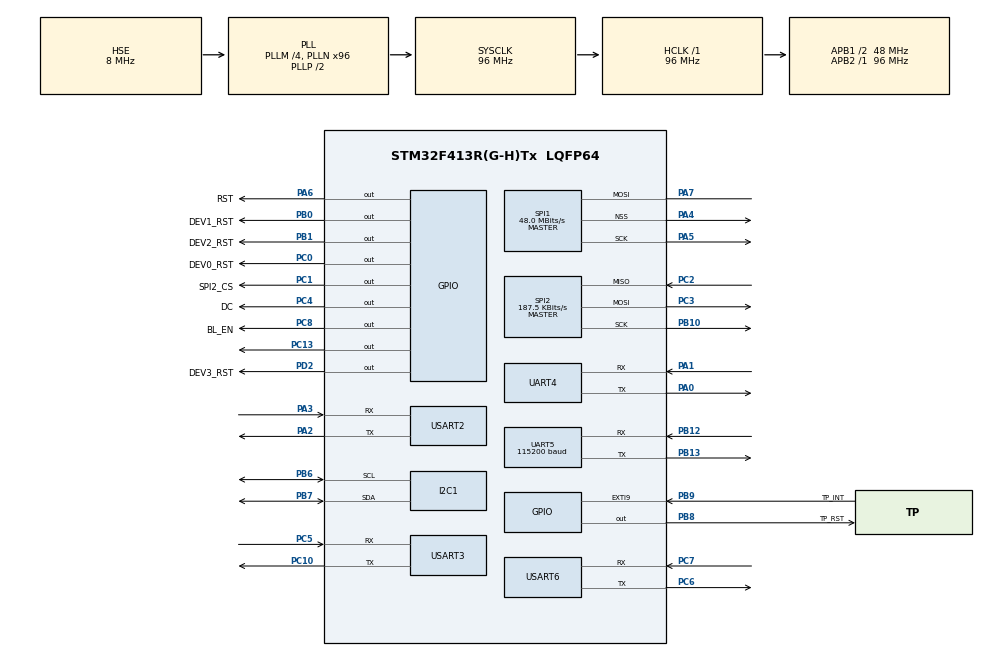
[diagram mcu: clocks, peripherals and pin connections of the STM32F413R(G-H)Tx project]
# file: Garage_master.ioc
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Dma.Request0=SPI1_TX
Dma.Request1=UART5_RX
Dma.Request10=USART3_TX
Dma.Request2=UART5_TX
Dma.Request3=USART6_RX
Dma.Request4=USART6_TX
Dma.Request5=USART2_RX
Dma.Request6=USART2_TX
Dma.Request7=UART4_TX
Dma.Request8=UART4_RX
Dma.Request9=USART3_RX
Dma.SPI1_TX.0.Direction=DMA_MEMORY_TO_PERIPH
Dma.SPI1_TX.0.FIFOMode=DMA_FIFOMODE_DISABLE
Dma.SPI1_TX.0.Instance=DMA2_Stream2
Dma.SPI1_TX.0.MemDataAlignment=DMA_MDATAALIGN_BYTE
Dma.SPI1_TX.0.MemInc=DMA_MINC_ENABLE
Dma.SPI1_TX.0.Mode=DMA_NORMAL
Dma.SPI1_TX.0.PeriphDataAlignment=DMA_PDATAALIGN_BYTE
Dma.SPI1_TX.0.PeriphInc=DMA_PINC_DISABLE
Dma.SPI1_TX.0.Priority=DMA_PRIORITY_LOW
Dma.UART4_RX.8.Direction=DMA_PERIPH_TO_MEMORY
Dma.UART4_RX.8.FIFOMode=DMA_FIFOMODE_DISABLE
Dma.UART4_RX.8.Instance=DMA1_Stream2
Dma.UART4_RX.8.MemDataAlignment=DMA_MDATAALIGN_BYTE
Dma.UART4_RX.8.MemInc=DMA_MINC_ENABLE
Dma.UART4_RX.8.Mode=DMA_NORMAL
Dma.UART4_RX.8.PeriphDataAlignment=DMA_PDATAALIGN_BYTE
Dma.UART4_RX.8.PeriphInc=DMA_PINC_DISABLE
Dma.UART4_RX.8.Priority=DMA_PRIORITY_LOW
Dma.UART4_TX.7.Direction=DMA_MEMORY_TO_PERIPH
Dma.UART4_TX.7.FIFOMode=DMA_FIFOMODE_DISABLE
Dma.UART4_TX.7.Instance=DMA1_Stream4
Dma.UART4_TX.7.MemDataAlignment=DMA_MDATAALIGN_BYTE
Dma.UART4_TX.7.MemInc=DMA_MINC_ENABLE
Dma.UART4_TX.7.Mode=DMA_NORMAL
Dma.UART4_TX.7.PeriphDataAlignment=DMA_PDATAALIGN_BYTE
Dma.UART4_TX.7.PeriphInc=DMA_PINC_DISABLE
Dma.UART4_TX.7.Priority=DMA_PRIORITY_LOW
Dma.UART5_RX.1.Direction=DMA_PERIPH_TO_MEMORY
Dma.UART5_RX.1.FIFOMode=DMA_FIFOMODE_DISABLE
Dma.UART5_RX.1.Instance=DMA1_Stream0
Dma.UART5_RX.1.MemDataAlignment=DMA_MDATAALIGN_BYTE
Dma.UART5_RX.1.MemInc=DMA_MINC_ENABLE
Dma.UART5_RX.1.Mode=DMA_NORMAL
Dma.UART5_RX.1.PeriphDataAlignment=DMA_PDATAALIGN_BYTE
Dma.UART5_RX.1.PeriphInc=DMA_PINC_DISABLE
Dma.UART5_RX.1.Priority=DMA_PRIORITY_LOW
Dma.UART5_TX.2.Direction=DMA_MEMORY_TO_PERIPH
Dma.UART5_TX.2.FIFOMode=DMA_FIFOMODE_DISABLE
Dma.UART5_TX.2.Instance=DMA1_Stream7
Dma.UART5_TX.2.MemDataAlignment=DMA_MDATAALIGN_BYTE
Dma.UART5_TX.2.MemInc=DMA_MINC_ENABLE
Dma.UART5_TX.2.Mode=DMA_NORMAL
Dma.UART5_TX.2.PeriphDataAlignment=DMA_PDATAALIGN_BYTE
Dma.UART5_TX.2.PeriphInc=DMA_PINC_DISABLE
Dma.UART5_TX.2.Priority=DMA_PRIORITY_LOW
Dma.USART2_RX.5.Direction=DMA_PERIPH_TO_MEMORY
Dma.USART2_RX.5.FIFOMode=DMA_FIFOMODE_DISABLE
Dma.USART2_RX.5.Instance=DMA1_Stream5
Dma.USART2_RX.5.MemDataAlignment=DMA_MDATAALIGN_BYTE
Dma.USART2_RX.5.MemInc=DMA_MINC_ENABLE
Dma.USART2_RX.5.Mode=DMA_NORMAL
Dma.USART2_RX.5.PeriphDataAlignment=DMA_PDATAALIGN_BYTE
Dma.USART2_RX.5.PeriphInc=DMA_PINC_DISABLE
Dma.USART2_RX.5.Priority=DMA_PRIORITY_LOW
Dma.USART2_TX.6.Direction=DMA_MEMORY_TO_PERIPH
Dma.USART2_TX.6.FIFOMode=DMA_FIFOMODE_DISABLE
Dma.USART2_TX.6.Instance=DMA1_Stream6
Dma.USART2_TX.6.MemDataAlignment=DMA_MDATAALIGN_BYTE
Dma.USART2_TX.6.MemInc=DMA_MINC_ENABLE
Dma.USART2_TX.6.Mode=DMA_NORMAL
Dma.USART2_TX.6.PeriphDataAlignment=DMA_PDATAALIGN_BYTE
Dma.USART2_TX.6.PeriphInc=DMA_PINC_DISABLE
Dma.USART2_TX.6.Priority=DMA_PRIORITY_LOW
Dma.USART3_RX.9.Direction=DMA_PERIPH_TO_MEMORY
Dma.USART3_RX.9.FIFOMode=DMA_FIFOMODE_DISABLE
Dma.USART3_RX.9.Instance=DMA1_Stream1
Dma.USART3_RX.9.MemDataAlignment=DMA_MDATAALIGN_BYTE
Dma.USART3_RX.9.MemInc=DMA_MINC_ENABLE
Dma.USART3_RX.9.Mode=DMA_NORMAL
Dma.USART3_RX.9.PeriphDataAlignment=DMA_PDATAALIGN_BYTE
Dma.USART3_RX.9.PeriphInc=DMA_PINC_DISABLE
Dma.USART3_RX.9.Priority=DMA_PRIORITY_LOW
Dma.USART3_TX.10.Direction=DMA_MEMORY_TO_PERIPH
Dma.USART3_TX.10.FIFOMode=DMA_FIFOMODE_DISABLE
Dma.USART3_TX.10.Instance=DMA1_Stream3
Dma.USART3_TX.10.MemDataAlignment=DMA_MDATAALIGN_BYTE
Dma.USART3_TX.10.MemInc=DMA_MINC_ENABLE
Dma.USART3_TX.10.Mode=DMA_NORMAL
Dma.USART3_TX.10.PeriphDataAlignment=DMA_PDATAALIGN_BYTE
Dma.USART3_TX.10.PeriphInc=DMA_PINC_DISABLE
Dma.USART3_TX.10.Priority=DMA_PRIORITY_LOW
Dma.USART6_RX.3.Direction=DMA_PERIPH_TO_MEMORY
Dma.USART6_RX.3.FIFOMode=DMA_FIFOMODE_DISABLE
Dma.USART6_RX.3.Instance=DMA2_Stream1
Dma.USART6_RX.3.MemDataAlignment=DMA_MDATAALIGN_BYTE
Dma.USART6_RX.3.MemInc=DMA_MINC_ENABLE
Dma.USART6_RX.3.Mode=DMA_NORMAL
Dma.USART6_RX.3.PeriphDataAlignment=DMA_PDATAALIGN_BYTE
Dma.USART6_RX.3.PeriphInc=DMA_PINC_DISABLE
Dma.USART6_RX.3.Priority=DMA_PRIORITY_LOW
Dma.USART6_TX.4.Direction=DMA_MEMORY_TO_PERIPH
Dma.USART6_TX.4.FIFOMode=DMA_FIFOMODE_DISABLE
Dma.USART6_TX.4.Instance=DMA2_Stream6
Dma.USART6_TX.4.MemDataAlignment=DMA_MDATAALIGN_BYTE
Dma.USART6_TX.4.MemInc=DMA_MINC_ENABLE
Dma.USART6_TX.4.Mode=DMA_NORMAL
Dma.USART6_TX.4.PeriphDataAlignment=DMA_PDATAALIGN_BYTE
Dma.USART6_TX.4.PeriphInc=DMA_PINC_DISABLE
Dma.USART6_TX.4.Priority=DMA_PRIORITY_LOW
FATFS._MAX_SS=4096
FATFS._USE_LFN=1
IWDG.Prescaler=IWDG_PRESCALER_256
IWDG.Reload=1250
Mcu.Family=STM32F4
Mcu.Name=STM32F413R(G-H)Tx
Mcu.Package=LQFP64
NVIC.DMA1_Stream0_IRQn=true\:0\:0\:false\:false\:true\:false\:true\:true
NVIC.DMA1_Stream1_IRQn=true\:0\:0\:false\:false\:true\:false\:true\:true
NVIC.DMA1_Stream2_IRQn=true\:0\:0\:false\:false\:true\:false\:true\:true
NVIC.DMA1_Stream3_IRQn=true\:0\:0\:false\:false\:true\:false\:true\:true
NVIC.DMA1_Stream4_IRQn=true\:0\:0\:false\:false\:true\:false\:true\:true
NVIC.DMA1_Stream5_IRQn=true\:0\:0\:false\:false\:true\:false\:true\:true
NVIC.DMA1_Stream6_IRQn=true\:0\:0\:false\:false\:true\:false\:true\:true
NVIC.DMA1_Stream7_IRQn=true\:0\:0\:false\:false\:true\:false\:true\:true
NVIC.DMA2_Stream1_IRQn=true\:0\:0\:false\:false\:true\:false\:true\:true
NVIC.DMA2_Stream2_IRQn=true\:0\:0\:false\:false\:true\:false\:true\:true
NVIC.DMA2_Stream6_IRQn=true\:0\:0\:false\:false\:true\:false\:true\:true
NVIC.EXTI9_5_IRQn=true\:0\:0\:false\:false\:true\:true\:true\:true
NVIC.I2C1_ER_IRQn=true\:0\:0\:false\:false\:true\:true\:true\:true
NVIC.I2C1_EV_IRQn=true\:0\:0\:false\:false\:true\:true\:true\:true
NVIC.PriorityGroup=NVIC_PRIORITYGROUP_4
NVIC.UART4_IRQn=true\:0\:0\:false\:false\:true\:true\:true\:true
NVIC.UART5_IRQn=true\:0\:0\:false\:false\:true\:false\:true\:true
NVIC.USART2_IRQn=true\:0\:0\:false\:false\:true\:true\:true\:true
NVIC.USART3_IRQn=true\:0\:0\:false\:false\:true\:true\:true\:true
NVIC.USART6_IRQn=true\:0\:0\:false\:false\:true\:false\:true\:true
PA0.Mode=Asynchronous
PA0.Signal=UART4_TX
PA1.Mode=Asynchronous
PA1.Signal=UART4_RX
PA13.Mode=Trace_Asynchronous_SW
PA13.Signal=SYS_JTMS-SWDIO
PA14.Mode=Trace_Asynchronous_SW
PA14.Signal=SYS_JTCK-SWCLK
PA2.Mode=Asynchronous
PA2.Signal=USART2_TX
PA3.Mode=Asynchronous
PA3.Signal=USART2_RX
PA4.Mode=NSS_Signal_Hard_Output
PA4.Signal=SPI1_NSS
PA5.Mode=Simplex_Bidirectional_Master
PA5.Signal=SPI1_SCK
PA6.GPIO_Label=RST
PA6.Signal=GPIO_Output
PA7.Mode=Simplex_Bidirectional_Master
PA7.Signal=SPI1_MOSI
PB0.GPIO_Label=DEV1_RST
PB0.Signal=GPIO_Output
PB1.GPIO_Label=DEV2_RST
PB1.Signal=GPIO_Output
PB10.Mode=Full_Duplex_Master
PB10.Signal=SPI2_SCK
PB12.Mode=Asynchronous
PB12.Signal=UART5_RX
PB13.Mode=Asynchronous
PB13.Signal=UART5_TX
PB3.Mode=Trace_Asynchronous_SW
PB3.Signal=SYS_JTDO-SWO
PB6.GPIO_Pu=GPIO_PULLUP
PB6.GPIO_Speed=GPIO_SPEED_FREQ_VERY_HIGH
PB6.Mode=I2C
PB6.Signal=I2C1_SCL
PB7.GPIO_Pu=GPIO_PULLUP
PB7.GPIO_Speed=GPIO_SPEED_FREQ_VERY_HIGH
PB7.Mode=I2C
PB7.Signal=I2C1_SDA
PB8.GPIO_Label=TP_RST
PB8.PinState=GPIO_PIN_SET
PB8.Signal=GPIO_Output
PB9.GPIO_Label=TP_INT
PB9.GPIO_ModeDefaultEXTI=GPIO_MODE_IT_RISING_FALLING
PB9.Signal=GPXTI9
PC0.GPIO_Label=DEV0_RST
PC0.Signal=GPIO_Output
PC1.GPIO_Label=SPI2_CS
PC1.Signal=GPIO_Output
PC10.Mode=Asynchronous
PC10.Signal=USART3_TX
PC13.Signal=GPIO_Output
PC14-OSC32_IN.Mode=LSE-External-Oscillator
PC14-OSC32_IN.Signal=RCC_OSC32_IN
PC15-OSC32_OUT.Mode=LSE-External-Oscillator
PC15-OSC32_OUT.Signal=RCC_OSC32_OUT
PC2.Mode=Full_Duplex_Master
PC2.Signal=SPI2_MISO
PC3.Mode=Full_Duplex_Master
PC3.Signal=SPI2_MOSI
PC4.GPIO_Label=DC
PC4.Signal=GPIO_Output
PC5.Mode=Asynchronous
PC5.Signal=USART3_RX
PC6.Mode=Asynchronous
PC6.Signal=USART6_TX
PC7.Mode=Asynchronous
PC7.Signal=USART6_RX
PC8.GPIO_Label=BL_EN
PC8.Signal=GPIO_Output
PD2.GPIO_Label=DEV3_RST
PD2.Signal=GPIO_Output
PH0\ -\ OSC_IN.Mode=HSE-External-Oscillator
PH0\ -\ OSC_IN.Signal=RCC_OSC_IN
PH1\ -\ OSC_OUT.Mode=HSE-External-Oscillator
PH1\ -\ OSC_OUT.Signal=RCC_OSC_OUT
ProjectManager.HeapSize=0x200
ProjectManager.StackSize=0x400
ProjectManager.TargetToolchain=Makefile
RCC.AHBFreq_Value=96000000
RCC.APB1CLKDivider=RCC_HCLK_DIV2
RCC.APB1Freq_Value=48000000
RCC.APB1TimFreq_Value=96000000
RCC.APB2Freq_Value=96000000
RCC.APB2TimFreq_Value=96000000
RCC.CortexFreq_Value=96000000
RCC.HCLKFreq_Value=96000000
RCC.HSE_VALUE=8000000
RCC.PLLM=4
RCC.PLLN=96
RCC.PLLSourceVirtual=RCC_PLLSOURCE_HSE
RCC.RCC_RTC_Clock_SourceVirtual=RCC_RTCCLKSOURCE_LSE
RCC.SYSCLKFreq_VALUE=96000000
RCC.SYSCLKSource=RCC_SYSCLKSOURCE_PLLCLK
RCC.USBFreq_Value=96000000
RCC.VCOOutputFreq_Value=192000000
RTC.Alarm=RTC_ALARM_A
SPI1.CalculateBaudRate=48.0 MBits/s
SPI1.Direction=SPI_DIRECTION_1LINE
SPI1.Mode=SPI_MODE_MASTER
SPI1.VirtualNSS=VM_NSSHARD
SPI1.VirtualType=VM_MASTER
SPI2.BaudRatePrescaler=SPI_BAUDRATEPRESCALER_256
SPI2.CalculateBaudRate=187.5 KBits/s
SPI2.Direction=SPI_DIRECTION_2LINES
SPI2.Mode=SPI_MODE_MASTER
SPI2.VirtualType=VM_MASTER
UART4.VirtualMode=Asynchronous
UART5.BaudRate=115200
UART5.VirtualMode=Asynchronous
USART2.VirtualMode=VM_ASYNC
USART3.VirtualMode=VM_ASYNC
USART6.VirtualMode=VM_ASYNC
VP_FATFS_VS_Generic.Mode=User_defined
VP_IWDG_VS_IWDG.Mode=IWDG_Activate
VP_RTC_VS_RTC_Activate.Mode=RTC_Enabled
VP_RTC_VS_RTC_Alarm_A_Intern.Mode=Alarm A
VP_RTC_VS_RTC_Calendar.Mode=RTC_Calendar
board=custom

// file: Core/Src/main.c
/* USER CODE BEGIN Header */
/**
  ******************************************************************************
  * @file           : main.c
  * @brief          : Main program body
  ******************************************************************************
  * @attention
  *
  * Copyright (c) 2024 STMicroelectronics.
  * All rights reserved.
  *
  * This software is licensed under terms that can be found in the LICENSE file
  * in the root directory of this software component.
  * If no LICENSE file comes with this software, it is provided AS-IS.
  *
  ******************************************************************************
  */
/* USER CODE END Header */
#include "main.h"
#include "fatfs.h"

/* USER CODE BEGIN Includes */
#include <stdlib.h>
#include <dispcolor.h>
#include <gpio.h>
#include "info_disp.h"
#include "cst816s.h"
#include <string.h>
#include <stdio.h>
/* USER CODE END Includes */

/* USER CODE BEGIN PD */
#define STATE_INIT    0
#define STATE_DISPLAY 1
#define STATE_800INIT 2

#define SCROLL_MODE_AUTO  0
#define SCROLL_MODE_HALT  1
#define SCROLL_MODE_CLICK 2

#define TRANSMIT_MODE_GET 0
#define TRANSMIT_MODE_SET 1

#define RX_BUFFER_SIZE 512
#define TX_BUFFER_SIZE 128

#define RTC_BKP_CONSTANT  0x2345
/* USER CODE END PD */

I2C_HandleTypeDef hi2c1;

IWDG_HandleTypeDef hiwdg;

RTC_HandleTypeDef hrtc;

SPI_HandleTypeDef hspi1;
SPI_HandleTypeDef hspi2;
// DMA_HandleTypeDef hdma_spi1_tx;

UART_HandleTypeDef huart4;
UART_HandleTypeDef huart5;
UART_HandleTypeDef huart2;
UART_HandleTypeDef huart3;
UART_HandleTypeDef huart6;
DMA_HandleTypeDef hdma_uart4_tx;
DMA_HandleTypeDef hdma_uart4_rx;
DMA_HandleTypeDef hdma_uart5_rx;
DMA_HandleTypeDef hdma_uart5_tx;
DMA_HandleTypeDef hdma_usart2_rx;
DMA_HandleTypeDef hdma_usart2_tx;
DMA_HandleTypeDef hdma_usart3_rx;
DMA_HandleTypeDef hdma_usart3_tx;
DMA_HandleTypeDef hdma_usart6_rx;
DMA_HandleTypeDef hdma_usart6_tx;

/* USER CODE BEGIN PV */
#define DEV0_UART &huart4
#define DEV3_UART &huart5

#define DEV_STATE_IN    1
#define DEV_STATE_UNIN  0

#define SIM800_UART &huart6
/* USER CODE END PV */

void SystemClock_Config(void);
static void MX_GPIO_Init(void);
static void MX_DMA_Init(void);
static void MX_SPI1_Init(void);
static void MX_UART5_Init(void);
static void MX_USART6_UART_Init(void);
static void MX_SPI2_Init(void);
static void MX_RTC_Init(void);
static void MX_USART2_UART_Init(void);
static void MX_IWDG_Init(void);
static void MX_UART4_Init(void);
static void MX_USART3_UART_Init(void);
static void MX_I2C1_Init(void);
/* USER CODE BEGIN PFP */
void Set_Alarm(uint8_t minutes);
void Set_RTC();
uint32_t map(uint32_t x, uint32_t in_min, uint32_t in_max, uint32_t out_min, uint32_t out_max);
void findNextInDev(bool dir);
bool checkSIMStatus();
bool sendSMS(char *message);
bool checkInitStatus();
bool enableGPRS();
void resetModule();
void syncTime();
void getTime();
/* USER CODE END PFP */

/* USER CODE BEGIN 0 */
double val = 10;
uint8_t tx_buff[]={84,66,67,68,69,70,71,72,73,74};
uint8_t palette = TEMP_PALETTE;
uint8_t device_type = TYPE_SET_TEL;

uint8_t state = STATE_INIT;
uint8_t dev_num = 0;
uint8_t act_dev_cnt = 0;

int8_t act_dev_list[]  = {-1, -1, -1, -1};

bool isDevPolledFirstTime = true;

uint8_t alarm_timeout = 1;

uint8_t screen_scroll_mode = SCROLL_MODE_AUTO;

//Device device_0 = {&huart4, DEV_STATE_UNIN, TYPE_SET_ONLY};
// Device device_2 = {&huart5, DEV_STATE_UNIN, TYPE_SET_ONLY};
//Device device_3 = {&huart5, DEV_STATE_UNIN, TYPE_SET_ONLY};
// Device device_4 = {&huart5, DEV_STATE_UNIN, TYPE_SET_ONLY};

CST816S_TouchData TP;

Device deviceList[] = {{&huart4, DEV_STATE_UNIN, TYPE_SET_ONLY, DEV0_RST_GPIO_Port, DEV0_RST_Pin},
                       {&huart2, DEV_STATE_UNIN, TYPE_SET_ONLY, DEV1_RST_GPIO_Port, DEV1_RST_Pin},
                       {&huart3, DEV_STATE_UNIN, TYPE_SET_ONLY, DEV2_RST_GPIO_Port, DEV2_RST_Pin},
                       {&huart5, DEV_STATE_UNIN, TYPE_SET_ONLY, DEV3_RST_GPIO_Port, DEV3_RST_Pin}};
//Device deviceList[] = {device_0, dev};

SIM sim = {SIM800_UART};

uint8_t rx_buff[10];

uint8_t sim_rx_buff[30];

uint8_t SIMrxBuffer[RX_BUFFER_SIZE];
uint8_t SIMtxBuffer[TX_BUFFER_SIZE];

#define DEV_COUNT 4

bool transmitMode = TRANSMIT_MODE_GET;

bool isSDInitialised = false;

bool isSIMInitialised = false;
bool isSIMInserted = false;

bool allDeviceIsUnIn = true;

bool touchAvailable = false;

bool isRTCSetUp = false;

bool isRTCTimeSync = false;

bool longPressFlag = false;

bool showMainScreen = true;

const char *tele2_apn = "internet.tele2.lv";
const char *lmt_apn = "internet.lmt.lv";
const char *bite_apn = "internet";
/* USER CODE END 0 */

int main(void)
{

  /* MCU Configuration--------------------------------------------------------*/

  /* Reset of all peripherals, Initializes the Flash interface and the Systick. */
  HAL_Init();

  /* Configure the system clock */
  SystemClock_Config();

  /* Initialize all configured peripherals */
  MX_GPIO_Init();
  MX_DMA_Init();
  MX_SPI1_Init();
  MX_UART5_Init();
  MX_USART6_UART_Init();
  MX_SPI2_Init();
  MX_FATFS_Init();
  MX_RTC_Init();
  MX_USART2_UART_Init();
  MX_IWDG_Init();
  MX_UART4_Init();
  MX_USART3_UART_Init();
  MX_I2C1_Init();
  /* USER CODE BEGIN 2 */

	dispcolor_Init(240, 240);

	uint32_t dev_init_timeout = HAL_GetTick();
  uint32_t screen_disp_time = HAL_GetTick();
  uint32_t touch_tmr = HAL_GetTick();
  uint32_t sim_tmr = HAL_GetTick();

  // uint32_t simtmr = HAL_GetTick();
  // uint32_t txtmr = HAL_GetTick();

  uint8_t old_dev_num = 0;

  /* RTC */
  // GET RTC DATETIME
  RTC_DateTypeDef gDate;
  RTC_TimeTypeDef gTime;

  /* Get the RTC current Time */
  HAL_RTC_GetTime(&hrtc, &gTime, RTC_FORMAT_BIN);
  /* Get the RTC current Date */
  HAL_RTC_GetDate(&hrtc, &gDate, RTC_FORMAT_BIN);

  if(HAL_RTCEx_BKUPRead(&hrtc, RTC_BKP_DR1) != RTC_BKP_CONSTANT){
    Show_RTC_Warning();
    // RTC SETUP MENU
    // Set_RTC();
    // NVIC_SystemReset();
  }else{
    isRTCSetUp = true;
  }

  /* SD CARD */
  FATFS FatFs;
  FRESULT FR_Status;
  FIL Fil;
  UINT bytesWrote;

  FR_Status = f_mount(&FatFs, "", 1);
  if (FR_Status == FR_OK){
    isSDInitialised = true;
  }else{
    Show_SD_Warning();
  }

  /* SIM CARD */
  HAL_UART_Receive_DMA(&huart6, SIMrxBuffer, RX_BUFFER_SIZE);

  /* RESET */
  for (int i = 0; i < DEV_COUNT; i++){
    GPIO_TypeDef *curDevRSTport = deviceList[i].RSTport;
    uint16_t curDevRSTpin = deviceList[i].RSTpin;
    HAL_GPIO_WritePin(curDevRSTport, curDevRSTpin, GPIO_PIN_RESET);
	  HAL_Delay(100);
    HAL_GPIO_WritePin(curDevRSTport, curDevRSTpin, GPIO_PIN_SET);
    deviceList[i].tx_buff[0] = 84;
  }
  dev_init_timeout = HAL_GetTick();

  /* TOUCH */
  if (!CST816S_Init(&hi2c1)){
    HAL_NVIC_SystemReset();
  }
  /* USER CODE END 2 */

  /* Infinite loop */
  /* USER CODE BEGIN WHILE */
  while (1){
    if(state == STATE_INIT){
      Display_Init(dev_num, DEV_COUNT);
      HAL_UART_Transmit_DMA(deviceList[dev_num].uart, deviceList[dev_num].tx_buff, 10);
      HAL_UART_Receive_DMA(deviceList[dev_num].uart, deviceList[dev_num].rx_buff, 10);
    }
    else{
      if (!allDeviceIsUnIn && !showMainScreen){
        Dispaly_Data(&deviceList[dev_num]);
        if(transmitMode == TRANSMIT_MODE_GET){
          if(deviceList[dev_num].deviceMode != TYPE_SET_ONLY){
            HAL_UART_Transmit_DMA(deviceList[dev_num].uart, deviceList[dev_num].tx_buff, 10);
            HAL_UART_Receive_DMA(deviceList[dev_num].uart, deviceList[dev_num].rx_buff, 10);
          }
        }else{
          char setValueTx[10];
          //sprintf(setValueTx, "%d", deviceList[dev_num].setValue);
          itoa(deviceList[dev_num].setValue, setValueTx, 10);
          HAL_UART_Transmit_DMA(deviceList[dev_num].uart, (uint8_t*)&setValueTx, 10);
          transmitMode = TRANSMIT_MODE_GET;
        }
        for(uint8_t act_dev = 0; act_dev < 4; act_dev++){
          if (act_dev_list[act_dev] == dev_num){
            Draw_NavBar(act_dev_cnt, act_dev);
            break;
          }
        }

      }else{
        Draw_Main_Screen();
        Draw_NavBar(act_dev_cnt, -1);
        //Draw_Easter();
      }
    }

    // DEVICE INITIALIZATION START
    if (HAL_GetTick()-dev_init_timeout>1000 && state == STATE_INIT){
      if(dev_num == old_dev_num){
        dev_num++;
      }else{
        old_dev_num = dev_num;
      }
      dev_init_timeout = HAL_GetTick();
      screen_disp_time = HAL_GetTick();
    }

    if(HAL_GetTick()-sim_tmr > 5000){
      if(!isSIMInserted){
        if(checkSIMStatus()){
          Add_Message("SIM detected");
          isSIMInserted = true;
        }
      }
      if(isSIMInserted && !isSIMInitialised){
        if(checkInitStatus()){
          Add_Message("GSM connected");
          if(!isRTCSetUp && !isRTCTimeSync){
            syncTime();
            resetModule();
            isRTCTimeSync = true;
          }else{
            isSIMInitialised = true;
          }
        }
      }
      if(isSIMInitialised && !isRTCSetUp){
        getTime();
        if(HAL_RTCEx_BKUPRead(&hrtc, RTC_BKP_DR1) == RTC_BKP_CONSTANT){
          Add_Message("RTC is set up");
          isRTCSetUp = true;
        }
      }
      sim_tmr = HAL_GetTick();
    }

    // TEST CODE START
    // if (HAL_GetTick() - sim_tmr > 10000 && isSIMInitialised && isSIMInserted){
    //   char msg[30];
    //   char b[4];
    //   gcvt(deviceList[dev_num].currentValue, 3, b);
    //   sprintf(msg,"TEMP: %s*C", b);
    //   if(sendSMS(msg)){
    //     // Show_Message("SMS OK", 500);
    //   }
    //   sim_tmr = HAL_GetTick();
    // }
    // TEST CODE END

    if(dev_num == DEV_COUNT && state == STATE_INIT){
      // state = STATE_800INIT;
      state = STATE_DISPLAY;
      //simtmr = HAL_GetTick();
      findNextInDev(true);
      screen_scroll_mode = SCROLL_MODE_AUTO;
      if(isSDInitialised){
        // CREATE FILE "init_time_date.txt"
       // Set_Alarm(alarm_timeout);
        char filename_buff[35];
        char reset_cause_buf[20];
        uint8_t buf_len = 0;
        // CREATE FILE
        sprintf(filename_buff, "init_%02d-%02d-%02d_%02d-%02d-%2d.txt", gTime.Hours, gTime.Minutes, gTime.Seconds, gDate.Date, gDate.Month, gDate.Year);
        FR_Status = f_open(&Fil, filename_buff, FA_WRITE | FA_OPEN_ALWAYS | FA_CREATE_ALWAYS);
        // GET RESET REASON
        uint32_t reset_flags = RCC->CSR;
        if (reset_flags & RCC_CSR_IWDGRSTF) {
          buf_len = sprintf(reset_cause_buf, "Reset by IWDG\n");
        }else if (reset_flags & RCC_CSR_PINRSTF){
          buf_len = sprintf(reset_cause_buf, "Normal startup\n");
        }
        // SAVE
        FR_Status = f_write(&Fil, reset_cause_buf, buf_len, &bytesWrote);
        // GET DEVICE DATA
        for (uint8_t i = 0; i < DEV_COUNT; i++){
          char init_file_buf[75];
          // DEVISE INITIALISED
          if(deviceList[i].initState == DEV_STATE_IN){
            char dev_type_buf[15];
            // GET DEVICE TYPE
            switch (deviceList[i].deviceMode)
            {
            case TYPE_SET_ONLY:
              sprintf(dev_type_buf, "TYPE_SET_ONLY");
              break;
            case TYPE_SET_TEL:
              sprintf(dev_type_buf, "TYPE_SET_TEL");
              break;
            case TYPE_TEL_ONLY:
              sprintf(dev_type_buf, "TYPE_TEL_ONLY");
              break;
            }
            // GET DEVICE VARIABLES
            uint8_t max[5];
            uint8_t min[5];
            gcvt(deviceList[i].minValue, 5, min);
            gcvt(deviceList[i].maxValue, 5, max);
            // SAVE
            buf_len = sprintf(init_file_buf, "DEV: %d\nMin/Max: %s/%s\nDev type: %s\n\n", i, min, max, dev_type_buf);
          }else{ // DEVICE UNINITIALISED
            buf_len = sprintf(init_file_buf, "DEV: empty\n\n");
          }
          FR_Status = f_write(&Fil, init_file_buf, buf_len, &bytesWrote);
        }
        f_close(&Fil);
        // SAVE CONFIG
      }
    }
    // DEVICE INITIALIZATION END

    // AUTO SCREEN SCROLL START
    if (HAL_GetTick()-screen_disp_time>5000 && screen_scroll_mode == SCROLL_MODE_AUTO && !allDeviceIsUnIn && !showMainScreen){
      if(state != STATE_INIT){
        findNextInDev(true);
      }
      screen_disp_time = HAL_GetTick();
    }
    // AUTO SCREEN SCROLL END

    // TP READING START
    if(HAL_GetTick() - touch_tmr > 30 && touchAvailable){
      CST816S_ReadTouchData(&hi2c1, &TP);
      if (TP.finger_num != 0){
        // SOME ACTIONS

        // TP COORDS TO DISP COORDS
        uint8_t x = map(TP.x_coord, 0, 65535, 0, 240);
        uint8_t y = map(TP.y_coord, 0, 65535, 0, 240);

        // TEST
        if (x>78 && x < 162 && y > 78 && y<162 && TP.gesture_id == 0x00){
          deviceList[dev_num].isDevOn = !deviceList[dev_num].isDevOn;
        }
        if(TP.gesture_id == 0x00 && deviceList[dev_num].deviceDisplayMode ==MODE_EDIT){
          if (isTouchInsideArc(x, y, 120, 120, 55, 120, 136, 44)) {
              char buf[13];
              float tp_angle = getTouchAngle(x, y); // 46 314
              deviceList[dev_num].setValue = map(tp_angle, 46, 314, deviceList[dev_num].minValue, deviceList[dev_num].maxValue);
              sprintf(buf, "%d", map(tp_angle, 46, 314, 0, 100));
          }
        }
        // TEST
        if(TP.gesture_id == 0x0C && !longPressFlag && deviceList[dev_num].deviceMode != TYPE_TEL_ONLY && !showMainScreen){
          longPressFlag = true;
          // EDIT VALUE START

          screen_disp_time = HAL_GetTick();
          if(deviceList[dev_num].deviceDisplayMode == MODE_NORMAL){
            if (deviceList[dev_num].deviceMode != TYPE_SET_ONLY){
              deviceList[dev_num].setValue = deviceList[dev_num].currentValue;
            }
            deviceList[dev_num].deviceDisplayMode = MODE_EDIT;
          }else{
            transmitMode = TRANSMIT_MODE_SET;
            deviceList[dev_num].deviceDisplayMode = MODE_NORMAL;
          }

          if(screen_scroll_mode == SCROLL_MODE_AUTO){
            screen_scroll_mode = SCROLL_MODE_HALT;
          }else{
            screen_scroll_mode = SCROLL_MODE_AUTO;
          }
          // EDIT VALUE END
        }
        if(TP.gesture_id != 0x0C){
          longPressFlag = false;
        }

        // SCROLL START
        if(TP.gesture_id == 0x03 && deviceList[dev_num].deviceDisplayMode != MODE_EDIT){ // LEFT
          if (showMainScreen){showMainScreen=false; dev_num = act_dev_list[0];}
          else if (dev_num == act_dev_list[act_dev_cnt-1]){showMainScreen=true;}
          else{findNextInDev(true);}

          // Show_Message("LEFT", 500);
          screen_disp_time = HAL_GetTick();
        }
        if(TP.gesture_id == 0x04 && deviceList[dev_num].deviceDisplayMode != MODE_EDIT){ // RIGHT
          if (showMainScreen){showMainScreen=false; dev_num = act_dev_list[act_dev_cnt-1];}
          else if(dev_num == act_dev_list[0]){showMainScreen=true;}
          else{findNextInDev(false);}
          // Show_Message("RIGHT", 500);
          screen_disp_time = HAL_GetTick();
        }
        // SCROLL END
      }
      touchAvailable = false;
      touch_tmr = HAL_GetTick();
    }
    // TP READING END

    // IWDG RESET START
    if (HAL_IWDG_Refresh(&hiwdg) != HAL_OK){
      Error_Handler();
    }
    // IWDG RESET END
    /* USER CODE END WHILE */

  }
}

void SystemClock_Config(void)
{
  RCC_OscInitTypeDef RCC_OscInitStruct = {0};
  RCC_ClkInitTypeDef RCC_ClkInitStruct = {0};

  /** Configure the main internal regulator output voltage
  */
  __HAL_RCC_PWR_CLK_ENABLE();
  __HAL_PWR_VOLTAGESCALING_CONFIG(PWR_REGULATOR_VOLTAGE_SCALE1);

  /** Initializes the RCC Oscillators according to the specified parameters
  * in the RCC_OscInitTypeDef structure.
  */
  RCC_OscInitStruct.OscillatorType = RCC_OSCILLATORTYPE_LSI|RCC_OSCILLATORTYPE_HSE
                              |RCC_OSCILLATORTYPE_LSE;
  RCC_OscInitStruct.HSEState = RCC_HSE_ON;
  RCC_OscInitStruct.LSEState = RCC_LSE_ON;
  RCC_OscInitStruct.LSIState = RCC_LSI_ON;
  RCC_OscInitStruct.PLL.PLLState = RCC_PLL_ON;
  RCC_OscInitStruct.PLL.PLLSource = RCC_PLLSOURCE_HSE;
  RCC_OscInitStruct.PLL.PLLM = 4;
  RCC_OscInitStruct.PLL.PLLN = 96;
  RCC_OscInitStruct.PLL.PLLP = RCC_PLLP_DIV2;
  RCC_OscInitStruct.PLL.PLLQ = 2;
  RCC_OscInitStruct.PLL.PLLR = 2;
  if (HAL_RCC_OscConfig(&RCC_OscInitStruct) != HAL_OK)
  {
    Error_Handler();
  }

  /** Initializes the CPU, AHB and APB buses clocks
  */
  RCC_ClkInitStruct.ClockType = RCC_CLOCKTYPE_HCLK|RCC_CLOCKTYPE_SYSCLK
                              |RCC_CLOCKTYPE_PCLK1|RCC_CLOCKTYPE_PCLK2;
  RCC_ClkInitStruct.SYSCLKSource = RCC_SYSCLKSOURCE_PLLCLK;
  RCC_ClkInitStruct.AHBCLKDivider = RCC_SYSCLK_DIV1;
  RCC_ClkInitStruct.APB1CLKDivider = RCC_HCLK_DIV2;
  RCC_ClkInitStruct.APB2CLKDivider = RCC_HCLK_DIV1;

  if (HAL_RCC_ClockConfig(&RCC_ClkInitStruct, FLASH_LATENCY_3) != HAL_OK)
  {
    Error_Handler();
  }
}

static void MX_I2C1_Init(void)
{

  hi2c1.Instance = I2C1;
  hi2c1.Init.ClockSpeed = 100000;
  hi2c1.Init.DutyCycle = I2C_DUTYCYCLE_2;
  hi2c1.Init.OwnAddress1 = 0;
  hi2c1.Init.AddressingMode = I2C_ADDRESSINGMODE_7BIT;
  hi2c1.Init.DualAddressMode = I2C_DUALADDRESS_DISABLE;
  hi2c1.Init.OwnAddress2 = 0;
  hi2c1.Init.GeneralCallMode = I2C_GENERALCALL_DISABLE;
  hi2c1.Init.NoStretchMode = I2C_NOSTRETCH_DISABLE;
  if (HAL_I2C_Init(&hi2c1) != HAL_OK)
  {
    Error_Handler();
  }

}

static void MX_IWDG_Init(void)
{

  hiwdg.Instance = IWDG;
  hiwdg.Init.Prescaler = IWDG_PRESCALER_256;
  hiwdg.Init.Reload = 1250;
  if (HAL_IWDG_Init(&hiwdg) != HAL_OK)
  {
    Error_Handler();
  }

}

static void MX_RTC_Init(void)
{

  RTC_TimeTypeDef sTime = {0};
  RTC_DateTypeDef sDate = {0};
  RTC_AlarmTypeDef sAlarm = {0};

  /** Initialize RTC Only
  */
  hrtc.Instance = RTC;
  hrtc.Init.HourFormat = RTC_HOURFORMAT_24;
  hrtc.Init.AsynchPrediv = 127;
  hrtc.Init.SynchPrediv = 255;
  hrtc.Init.OutPut = RTC_OUTPUT_DISABLE;
  hrtc.Init.OutPutPolarity = RTC_OUTPUT_POLARITY_HIGH;
  hrtc.Init.OutPutType = RTC_OUTPUT_TYPE_OPENDRAIN;
  if (HAL_RTC_Init(&hrtc) != HAL_OK)
  {
    Error_Handler();
  }

  /* USER CODE BEGIN Check_RTC_BKUP */
  if (HAL_RTCEx_BKUPRead(&hrtc, RTC_BKP_DR1) == RTC_BKP_CONSTANT){return;}
  // // GET RTC DATETIME
  // RTC_DateTypeDef gDate;
  // RTC_TimeTypeDef gTime;
  // bool rtcBackup = false;

  // /* Get the RTC current Time */
  // HAL_RTC_GetTime(&hrtc, &gTime, RTC_FORMAT_BIN);
  // /* Get the RTC current Date */
  // HAL_RTC_GetDate(&hrtc, &gDate, RTC_FORMAT_BIN);

  // if(gDate.Year != 0){
  //     rtcBackup = true;
  // }
  /* USER CODE END Check_RTC_BKUP */

  /** Initialize RTC and set the Time and Date
  */
  sTime.Hours = 0x0;
  sTime.Minutes = 0x0;
  sTime.Seconds = 0x0;
  sTime.DayLightSaving = RTC_DAYLIGHTSAVING_NONE;
  sTime.StoreOperation = RTC_STOREOPERATION_RESET;
  if (HAL_RTC_SetTime(&hrtc, &sTime, RTC_FORMAT_BCD) != HAL_OK)
  {
    Error_Handler();
  }
  sDate.WeekDay = RTC_WEEKDAY_MONDAY;
  sDate.Month = RTC_MONTH_JANUARY;
  sDate.Date = 0x1;
  sDate.Year = 0x0;

  if (HAL_RTC_SetDate(&hrtc, &sDate, RTC_FORMAT_BCD) != HAL_OK)
  {
    Error_Handler();
  }

  /** Enable the Alarm A
  */
  sAlarm.AlarmTime.Hours = 0x0;
  sAlarm.AlarmTime.Minutes = 0x0;
  sAlarm.AlarmTime.Seconds = 0x0;
  sAlarm.AlarmTime.SubSeconds = 0x0;
  sAlarm.AlarmTime.DayLightSaving = RTC_DAYLIGHTSAVING_NONE;
  sAlarm.AlarmTime.StoreOperation = RTC_STOREOPERATION_RESET;
  sAlarm.AlarmMask = RTC_ALARMMASK_NONE;
  sAlarm.AlarmSubSecondMask = RTC_ALARMSUBSECONDMASK_ALL;
  sAlarm.AlarmDateWeekDaySel = RTC_ALARMDATEWEEKDAYSEL_DATE;
  sAlarm.AlarmDateWeekDay = 0x1;
  sAlarm.Alarm = RTC_ALARM_A;
  if (HAL_RTC_SetAlarm(&hrtc, &sAlarm, RTC_FORMAT_BCD) != HAL_OK)
  {
    Error_Handler();
  }
  /* USER CODE BEGIN RTC_Init 2 */
  // if(rtcBackup){
  //   HAL_RTC_SetTime(&hrtc, &gTime, RTC_FORMAT_BIN);
  //   HAL_RTC_SetDate(&hrtc, &gDate, RTC_FORMAT_BIN);
  // }
  /* USER CODE END RTC_Init 2 */

}

static void MX_SPI1_Init(void)
{

  /* SPI1 parameter configuration*/
  hspi1.Instance = SPI1;
  hspi1.Init.Mode = SPI_MODE_MASTER;
  hspi1.Init.Direction = SPI_DIRECTION_1LINE;
  hspi1.Init.DataSize = SPI_DATASIZE_8BIT;
  hspi1.Init.CLKPolarity = SPI_POLARITY_LOW;
  hspi1.Init.CLKPhase = SPI_PHASE_1EDGE;
  hspi1.Init.NSS = SPI_NSS_HARD_OUTPUT;
  hspi1.Init.BaudRatePrescaler = SPI_BAUDRATEPRESCALER_2;
  hspi1.Init.FirstBit = SPI_FIRSTBIT_MSB;
  hspi1.Init.TIMode = SPI_TIMODE_DISABLE;
  hspi1.Init.CRCCalculation = SPI_CRCCALCULATION_DISABLE;
  hspi1.Init.CRCPolynomial = 10;
  if (HAL_SPI_Init(&hspi1) != HAL_OK)
  {
    Error_Handler();
  }

}

static void MX_SPI2_Init(void)
{

  /* SPI2 parameter configuration*/
  hspi2.Instance = SPI2;
  hspi2.Init.Mode = SPI_MODE_MASTER;
  hspi2.Init.Direction = SPI_DIRECTION_2LINES;
  hspi2.Init.DataSize = SPI_DATASIZE_8BIT;
  hspi2.Init.CLKPolarity = SPI_POLARITY_LOW;
  hspi2.Init.CLKPhase = SPI_PHASE_1EDGE;
  hspi2.Init.NSS = SPI_NSS_SOFT;
  hspi2.Init.BaudRatePrescaler = SPI_BAUDRATEPRESCALER_256;
  hspi2.Init.FirstBit = SPI_FIRSTBIT_MSB;
  hspi2.Init.TIMode = SPI_TIMODE_DISABLE;
  hspi2.Init.CRCCalculation = SPI_CRCCALCULATION_DISABLE;
  hspi2.Init.CRCPolynomial = 10;
  if (HAL_SPI_Init(&hspi2) != HAL_OK)
  {
    Error_Handler();
  }

}

static void MX_UART4_Init(void)
{

  huart4.Instance = UART4;
  huart4.Init.BaudRate = 115200;
  huart4.Init.WordLength = UART_WORDLENGTH_8B;
  huart4.Init.StopBits = UART_STOPBITS_1;
  huart4.Init.Parity = UART_PARITY_NONE;
  huart4.Init.Mode = UART_MODE_TX_RX;
  huart4.Init.HwFlowCtl = UART_HWCONTROL_NONE;
  huart4.Init.OverSampling = UART_OVERSAMPLING_16;
  if (HAL_UART_Init(&huart4) != HAL_OK)
  {
    Error_Handler();
  }

}

static void MX_UART5_Init(void)
{

  huart5.Instance = UART5;
  huart5.Init.BaudRate = 115200;
  huart5.Init.WordLength = UART_WORDLENGTH_8B;
  huart5.Init.StopBits = UART_STOPBITS_1;
  huart5.Init.Parity = UART_PARITY_NONE;
  huart5.Init.Mode = UART_MODE_TX_RX;
  huart5.Init.HwFlowCtl = UART_HWCONTROL_NONE;
  huart5.Init.OverSampling = UART_OVERSAMPLING_16;
  if (HAL_UART_Init(&huart5) != HAL_OK)
  {
    Error_Handler();
  }

}

static void MX_USART2_UART_Init(void)
{

  huart2.Instance = USART2;
  huart2.Init.BaudRate = 115200;
  huart2.Init.WordLength = UART_WORDLENGTH_8B;
  huart2.Init.StopBits = UART_STOPBITS_1;
  huart2.Init.Parity = UART_PARITY_NONE;
  huart2.Init.Mode = UART_MODE_TX_RX;
  huart2.Init.HwFlowCtl = UART_HWCONTROL_NONE;
  huart2.Init.OverSampling = UART_OVERSAMPLING_16;
  if (HAL_UART_Init(&huart2) != HAL_OK)
  {
    Error_Handler();
  }

}

static void MX_USART3_UART_Init(void)
{

  huart3.Instance = USART3;
  huart3.Init.BaudRate = 115200;
  huart3.Init.WordLength = UART_WORDLENGTH_8B;
  huart3.Init.StopBits = UART_STOPBITS_1;
  huart3.Init.Parity = UART_PARITY_NONE;
  huart3.Init.Mode = UART_MODE_TX_RX;
  huart3.Init.HwFlowCtl = UART_HWCONTROL_NONE;
  huart3.Init.OverSampling = UART_OVERSAMPLING_16;
  if (HAL_UART_Init(&huart3) != HAL_OK)
  {
    Error_Handler();
  }

}

static void MX_USART6_UART_Init(void)
{

  huart6.Instance = USART6;
  huart6.Init.BaudRate = 115200;
  huart6.Init.WordLength = UART_WORDLENGTH_8B;
  huart6.Init.StopBits = UART_STOPBITS_1;
  huart6.Init.Parity = UART_PARITY_NONE;
  huart6.Init.Mode = UART_MODE_TX_RX;
  huart6.Init.HwFlowCtl = UART_HWCONTROL_NONE;
  huart6.Init.OverSampling = UART_OVERSAMPLING_16;
  if (HAL_UART_Init(&huart6) != HAL_OK)
  {
    Error_Handler();
  }

}

static void MX_DMA_Init(void)
{

  /* DMA controller clock enable */
  __HAL_RCC_DMA2_CLK_ENABLE();
  __HAL_RCC_DMA1_CLK_ENABLE();

  /* DMA interrupt init */
  /* DMA1_Stream0_IRQn interrupt configuration */
  HAL_NVIC_SetPriority(DMA1_Stream0_IRQn, 0, 0);
  HAL_NVIC_EnableIRQ(DMA1_Stream0_IRQn);
  /* DMA1_Stream1_IRQn interrupt configuration */
  HAL_NVIC_SetPriority(DMA1_Stream1_IRQn, 0, 0);
  HAL_NVIC_EnableIRQ(DMA1_Stream1_IRQn);
  /* DMA1_Stream2_IRQn interrupt configuration */
  HAL_NVIC_SetPriority(DMA1_Stream2_IRQn, 0, 0);
  HAL_NVIC_EnableIRQ(DMA1_Stream2_IRQn);
  /* DMA1_Stream3_IRQn interrupt configuration */
  HAL_NVIC_SetPriority(DMA1_Stream3_IRQn, 0, 0);
  HAL_NVIC_EnableIRQ(DMA1_Stream3_IRQn);
  /* DMA1_Stream4_IRQn interrupt configuration */
  HAL_NVIC_SetPriority(DMA1_Stream4_IRQn, 0, 0);
  HAL_NVIC_EnableIRQ(DMA1_Stream4_IRQn);
  /* DMA1_Stream5_IRQn interrupt configuration */
  HAL_NVIC_SetPriority(DMA1_Stream5_IRQn, 0, 0);
  HAL_NVIC_EnableIRQ(DMA1_Stream5_IRQn);
  /* DMA1_Stream6_IRQn interrupt configuration */
  HAL_NVIC_SetPriority(DMA1_Stream6_IRQn, 0, 0);
  HAL_NVIC_EnableIRQ(DMA1_Stream6_IRQn);
  /* DMA1_Stream7_IRQn interrupt configuration */
  HAL_NVIC_SetPriority(DMA1_Stream7_IRQn, 0, 0);
  HAL_NVIC_EnableIRQ(DMA1_Stream7_IRQn);
  /* DMA2_Stream1_IRQn interrupt configuration */
  HAL_NVIC_SetPriority(DMA2_Stream1_IRQn, 0, 0);
  HAL_NVIC_EnableIRQ(DMA2_Stream1_IRQn);
  /* DMA2_Stream2_IRQn interrupt configuration */
  HAL_NVIC_SetPriority(DMA2_Stream2_IRQn, 0, 0);
  HAL_NVIC_EnableIRQ(DMA2_Stream2_IRQn);
  /* DMA2_Stream6_IRQn interrupt configuration */
  HAL_NVIC_SetPriority(DMA2_Stream6_IRQn, 0, 0);
  HAL_NVIC_EnableIRQ(DMA2_Stream6_IRQn);

}

static void MX_GPIO_Init(void)
{
  GPIO_InitTypeDef GPIO_InitStruct = {0};

  /* GPIO Ports Clock Enable */
  __HAL_RCC_GPIOC_CLK_ENABLE();
  __HAL_RCC_GPIOH_CLK_ENABLE();
  __HAL_RCC_GPIOA_CLK_ENABLE();
  __HAL_RCC_GPIOB_CLK_ENABLE();
  __HAL_RCC_GPIOD_CLK_ENABLE();

  /*Configure GPIO pin Output Level */
  HAL_GPIO_WritePin(GPIOC, GPIO_PIN_13|DEV0_RST_Pin|SPI2_CS_Pin|DC_Pin
                          |BL_EN_Pin, GPIO_PIN_RESET);

  /*Configure GPIO pin Output Level */
  HAL_GPIO_WritePin(RST_GPIO_Port, RST_Pin, GPIO_PIN_RESET);

  /*Configure GPIO pin Output Level */
  HAL_GPIO_WritePin(GPIOB, DEV1_RST_Pin|DEV2_RST_Pin, GPIO_PIN_RESET);

  /*Configure GPIO pin Output Level */
  HAL_GPIO_WritePin(DEV3_RST_GPIO_Port, DEV3_RST_Pin, GPIO_PIN_RESET);

  /*Configure GPIO pin Output Level */
  HAL_GPIO_WritePin(TP_RST_GPIO_Port, TP_RST_Pin, GPIO_PIN_SET);

  /*Configure GPIO pins : PC13 DEV0_RST_Pin SPI2_CS_Pin DC_Pin
                           BL_EN_Pin */
  GPIO_InitStruct.Pin = GPIO_PIN_13|DEV0_RST_Pin|SPI2_CS_Pin|DC_Pin
                          |BL_EN_Pin;
  GPIO_InitStruct.Mode = GPIO_MODE_OUTPUT_PP;
  GPIO_InitStruct.Pull = GPIO_NOPULL;
  GPIO_InitStruct.Speed = GPIO_SPEED_FREQ_LOW;
  HAL_GPIO_Init(GPIOC, &GPIO_InitStruct);

  /*Configure GPIO pin : RST_Pin */
  GPIO_InitStruct.Pin = RST_Pin;
  GPIO_InitStruct.Mode = GPIO_MODE_OUTPUT_PP;
  GPIO_InitStruct.Pull = GPIO_NOPULL;
  GPIO_InitStruct.Speed = GPIO_SPEED_FREQ_LOW;
  HAL_GPIO_Init(RST_GPIO_Port, &GPIO_InitStruct);

  /*Configure GPIO pins : DEV1_RST_Pin DEV2_RST_Pin TP_RST_Pin */
  GPIO_InitStruct.Pin = DEV1_RST_Pin|DEV2_RST_Pin|TP_RST_Pin;
  GPIO_InitStruct.Mode = GPIO_MODE_OUTPUT_PP;
  GPIO_InitStruct.Pull = GPIO_NOPULL;
  GPIO_InitStruct.Speed = GPIO_SPEED_FREQ_LOW;
  HAL_GPIO_Init(GPIOB, &GPIO_InitStruct);

  /*Configure GPIO pin : DEV3_RST_Pin */
  GPIO_InitStruct.Pin = DEV3_RST_Pin;
  GPIO_InitStruct.Mode = GPIO_MODE_OUTPUT_PP;
  GPIO_InitStruct.Pull = GPIO_NOPULL;
  GPIO_InitStruct.Speed = GPIO_SPEED_FREQ_LOW;
  HAL_GPIO_Init(DEV3_RST_GPIO_Port, &GPIO_InitStruct);

  /*Configure GPIO pin : TP_INT_Pin */
  GPIO_InitStruct.Pin = TP_INT_Pin;
  GPIO_InitStruct.Mode = GPIO_MODE_IT_RISING_FALLING;
  GPIO_InitStruct.Pull = GPIO_NOPULL;
  HAL_GPIO_Init(TP_INT_GPIO_Port, &GPIO_InitStruct);

  /* EXTI interrupt init*/
  HAL_NVIC_SetPriority(EXTI9_5_IRQn, 0, 0);
  HAL_NVIC_EnableIRQ(EXTI9_5_IRQn);

}

/* USER CODE BEGIN 4 */
void Set_Alarm(uint8_t minutes)
{
  // RTC_DateTypeDef sDate;
  // RTC_TimeTypeDef sTime;
  // RTC_AlarmTypeDef sAlarm;
  // // Get the current RTC time and date
  // HAL_RTC_GetTime(&hrtc, &sTime, RTC_FORMAT_BIN);
  // HAL_RTC_GetDate(&hrtc, &sDate, RTC_FORMAT_BIN);

  // // Calculate the new alarm time
  // uint8_t newMinutes = (sTime.Minutes + minutes) % 60;
  // uint8_t minutesOverflow = (sTime.Minutes + minutes) / 60;

  // uint8_t newHours = (sTime.Hours + minutesOverflow) % 24;
  // uint8_t hoursOverflow = (sTime.Hours + minutesOverflow) / 24;

  // // Handle day, month, and year transitions
  // uint8_t newDay = sDate.Date + hoursOverflow;
  // uint8_t newMonth = sDate.Month;
  // uint16_t newYear = sDate.Year + 2000; // RTC returns year as offset from 2000

  // // Days in each month (account for leap year in February)
  // uint8_t daysInMonth[] = {31, (newYear % 4 == 0 && (newYear % 100 != 0 || newYear % 400 == 0)) ? 29 : 28, 31, 30, 31, 30, 31, 31, 30, 31, 30, 31};

  // // Adjust day and month
  // while (newDay > daysInMonth[newMonth - 1]) {
  //     newDay -= daysInMonth[newMonth - 1];
  //     newMonth++;
  //     if (newMonth > 12) {
  //         newMonth = 1;
  //         newYear++;
  //     }
  // }

  // // Set up the RTC alarm
  // sAlarm.AlarmTime.Hours = newHours;
  // sAlarm.AlarmTime.Minutes = newMinutes;
  // sAlarm.AlarmTime.Seconds = sTime.Seconds;
  // sAlarm.AlarmTime.TimeFormat = sTime.TimeFormat; // 24-hour format

  // sAlarm.AlarmDateWeekDay = newDay;
  // sAlarm.AlarmDateWeekDaySel = RTC_ALARMDATEWEEKDAYSEL_DATE; // Use specific date
  // sAlarm.AlarmMask = RTC_ALARMMASK_NONE; // Do not mask the date
  // sAlarm.Alarm = RTC_ALARM_A;

  // if (HAL_RTC_SetAlarm_IT(&hrtc, &sAlarm, RTC_FORMAT_BIN) != HAL_OK) {
  //     Error_Handler();
  // }
}

void Set_RTC(){
  // RTC_DateTypeDef gDate;
  // RTC_TimeTypeDef gTime;
  // while (1)
  // {
  //   Set_Time(&gDate, &gTime);
  //   // tick(&button);
  //   // if(isHold(&button)){return;}
  // }
}

void HAL_UART_RxCpltCallback(UART_HandleTypeDef *huart)
{
  /*
  COMMUNICATION PROTOCOL
  Master    Slave
  T      -> palette(L/T), type(S/T/B), (value), X(value), (symbol) ... LB0X250Y%
  G      -> value ... 754
  val    -> OK
  ON     -> OK
  OFF    -> OK
  S      -> S(state(0/1)) ... S1
  */
  //uint8_t rx_buff[10];
 //(rx_buff, "");
  // HAL_UART_Receive_DMA(deviceList[dev_num].uart, rx_buff, 9);
  // if(trySIMInit){
  //     char rx_buff[10];
  // HAL_UART_Receive_DMA(deviceList[dev_num].uart, (uint8_t*)&rx_buff, 10);
  //   return;
  // }

  /* SIM COMMUNICATION */
  if (huart == SIM800_UART){
    SIMrxBuffer[RX_BUFFER_SIZE - 1] = '\0'; // Null-terminate the buffer for string operations
        // Restart the DMA reception
    HAL_UART_Receive_DMA(&huart6, SIMrxBuffer, RX_BUFFER_SIZE);
    return;
  }

  char rx_buff[10];
  HAL_UART_Receive_DMA(deviceList[dev_num].uart, (uint8_t*)&rx_buff, 10);

    // NEW CODE START
    // IF FIRST LETTER IS L OR T
  if(rx_buff[0] == 76 || rx_buff[0] == 84){
    // IF L
    if (rx_buff[0] == 76){
      deviceList[dev_num].paletteType = LIGHT_PALETTE;
    }else{
      deviceList[dev_num].paletteType = TEMP_PALETTE;
    }
    // ENDIF

    // DEVICE MODE
    switch (rx_buff[1])
    {
    case 83:
      deviceList[dev_num].deviceMode = TYPE_SET_ONLY;
      break;
    case 84:
      deviceList[dev_num].deviceMode = TYPE_TEL_ONLY;
      break;
    case 66:
      deviceList[dev_num].deviceMode = TYPE_SET_TEL;
      break;
    }
    // ENDIF

    //GET MIN, MAX VALUE & SYMBOL START
    uint8_t minValueEndIndex = 0;
    uint8_t maxValueEndIndex = 0;

    for (int i = 2; i<10; i++){
      if(rx_buff[i] == 88){
        minValueEndIndex = i-1;
      }
      if(rx_buff[i] == 89){
        maxValueEndIndex = i-1;
        break;
      }
    }

    char minValueArr[minValueEndIndex-1];
    char maxValueArr[maxValueEndIndex-minValueEndIndex-1];

    memcpy(minValueArr, &rx_buff[2], (minValueEndIndex-1) * sizeof(char));

    memcpy(maxValueArr, &rx_buff[minValueEndIndex+2], (maxValueEndIndex-minValueEndIndex) * sizeof(char));

    deviceList[dev_num].minValue = atof(minValueArr);
    deviceList[dev_num].maxValue = atof(maxValueArr);

    deviceList[dev_num].symbol = rx_buff[maxValueEndIndex+2];

    deviceList[dev_num].tx_buff[0] = 71;
    // GET MIN, MAX VALUE & SYMBOL END
    if(state == STATE_INIT){
      deviceList[dev_num].initState = DEV_STATE_IN;
      allDeviceIsUnIn = false;
      act_dev_cnt++;
      for (uint8_t i = 0; i< 4; i++){
        if(act_dev_list[i] == -1){
          act_dev_list[i] = dev_num;
          break;
        }
      }
      dev_num++;
    }
  }
  // else if (rx_buff[0] == 83){
  //   if(atoi(rx_buff[1]) == 1){
  //     deviceList[dev_num].isDevOn = 1;
  //   }else{
  //     deviceList[dev_num].isDevOn = 0;
  //   }
  // }
  else if(rx_buff[0] == 79){
    transmitMode = TRANSMIT_MODE_GET;
  }else{// ISSUE START
    if(!isDevPolledFirstTime){
      deviceList[dev_num].currentValue = atof(rx_buff);
      deviceList[dev_num].currentValue /= 10;
    }else{
      isDevPolledFirstTime = false;
    }
  }// ISSUE END
  // NEW CODE END
}

// void HAL_RTC_AlarmAEventCallback(RTC_HandleTypeDef *hrtc)
// {
//   // FATFS FatFs;
//   FRESULT FR_Status;
//   FIL Fil;
//   UINT bytesWrote;

//   /* RTC */
//   // GET RTC DATETIME
//   RTC_DateTypeDef gDate;
//   RTC_TimeTypeDef gTime;

//   /* Get the RTC current Time */
//   HAL_RTC_GetTime(hrtc, &gTime, RTC_FORMAT_BIN);
//   /* Get the RTC current Date */
//   HAL_RTC_GetDate(hrtc, &gDate, RTC_FORMAT_BIN);

//   char filename_buff[35];
//   uint8_t buf_len;
//   sprintf(filename_buff, "log_%02d-%02d-%02d_%02d-%02d-%2d.txt", gTime.Hours, gTime.Minutes, gTime.Seconds, gDate.Date, gDate.Month, gDate.Year);
//   FR_Status = f_open(&Fil, filename_buff, FA_WRITE | FA_OPEN_ALWAYS | FA_CREATE_ALWAYS);
//   for (uint8_t i = 0; i < DEV_COUNT; i++){
//     char init_file_buf[75];
//     if(deviceList[i].initState == DEV_STATE_IN){
//       buf_len = sprintf(init_file_buf, "DEV: %d\nValue: %f\nSet value: %f\n", i, deviceList[i].currentValue, deviceList[i].setValue);
//       FR_Status = f_write(&Fil, init_file_buf, buf_len, &bytesWrote);
//       if(FR_Status != 0){break;}
//     }
//   }
//   f_close(&Fil);
//   // SAVE CONFIG
//   Set_Alarm(alarm_timeout);
// }

void HAL_GPIO_EXTI_Callback(uint16_t GPIO_Pin)
{
	if(GPIO_Pin == GPIO_PIN_9){
    touchAvailable = true;
	}else {
      __NOP();
  }
}

void findNextInDev(bool dir){
  if(!allDeviceIsUnIn){
    if(dir){
      do{
        if(dev_num < DEV_COUNT-1){
          dev_num++;
        }else{
          dev_num=0;
        }
      }while (!deviceList[dev_num].initState);
    }else{
      do{
        if(dev_num > 0){
          dev_num--;
        }else{
          dev_num=DEV_COUNT-1;
        }
      }while (!deviceList[dev_num].initState);
    }
    isDevPolledFirstTime = true;
  }
}

uint32_t map(uint32_t x, uint32_t in_min, uint32_t in_max, uint32_t out_min, uint32_t out_max){
  return (x - in_min) * (out_max - out_min) / (in_max - in_min) + out_min;
}

void SIM_sendCommand(const char *command){
    memset(SIMtxBuffer, 0, TX_BUFFER_SIZE);
    snprintf((char *)SIMtxBuffer, TX_BUFFER_SIZE, "%s\r\n", command);
    HAL_UART_Transmit_DMA(&huart6, SIMtxBuffer, strlen((char *)SIMtxBuffer));
}

bool checkSIMStatus(){
    SIM_sendCommand("AT+CSMINS?");
    HAL_Delay(100);
    if (strstr((char *)SIMrxBuffer, "+CSMINS: 0,1") != NULL) {
        return true; // SIM installed
    }
    return false; // SIM not installed
}

bool checkInitStatus(){
  SIM_sendCommand("AT+CREG?");
  if (strstr((char *)SIMrxBuffer, "+CREG: 0,1") != NULL) {
    return true;
  }
  return false;
}

bool sendSMS(char *message){
  SIM_sendCommand("AT+CMGF=1");
  HAL_Delay(50);
  SIM_sendCommand("AT+CMGS=\"+37122310302\"");
  HAL_Delay(50);
  SIM_sendCommand(message);
  HAL_Delay(50);
  uint8_t ctrlZ[] = {26};
  HAL_UART_Transmit_DMA(&huart6, ctrlZ, 1);
  if (strstr((char *)SIMrxBuffer, "ERROR") != NULL) {
    return false;
  }
  return true;
}

void resetModule(){
  SIM_sendCommand("AT+CFUN=1,1");
  HAL_Delay(50);
}

void syncTime(){
  SIM_sendCommand("AT+CLTS=1");
  HAL_Delay(50);
  SIM_sendCommand("AT&W");
  HAL_Delay(50);

}

void getTime(){
  char time[30];

  SIM_sendCommand("AT+CCLK?");
  HAL_Delay(50);

  int i, j, k;
  char *cclk = "+CCLK";
  for(i=0; SIMrxBuffer[i]!='\0'; i++) {
    for(j=i, k=0; cclk[k]!='\0' && SIMrxBuffer[j]==cclk[k]; j++, k++)
        ;
    if(k>0 && cclk[k]=='\0')
    {
        for (uint8_t l = 0; l < 30; l++){
          time[l] = SIMrxBuffer[i+l];
        }
        break;
    }
  }
  time[29] ='\0';
  //Show_Message(time, 1000);

  RTC_DateTypeDef nDate;
  RTC_TimeTypeDef nTime;
  // BUG!!!!!!
// Separate the date and time from the input string
  char date_part[9];  // For "23/12/31"
  char time_part[9];   // For "14:45:30"
  char offset_part[4]; // For "+05"

  // Use sscanf to extract date, time, and offset parts
  int result = sscanf(time, "+CCLK: \"%8s,%8s%3s\"", date_part, time_part, offset_part);

  if (result == 3) {
    // Now parse the date part (e.g., "23/12/31")
    uint8_t day, month, year;
    sscanf(date_part, "%2d/%2d/%2d", &year, &month, &day);

    // Fill the RTC_DateTypeDef structure
    nDate.Year = year;
    nDate.Month = month;
    nDate.Date = day;
    nDate.WeekDay = 5;

    if (HAL_RTC_SetDate(&hrtc, &nDate, RTC_FORMAT_BIN) != HAL_OK)
    {
      Error_Handler();
    }

      // Parse the time part (e.g., "14:45:30")
    uint8_t hours, minutes, seconds;
    sscanf(time_part, "%2d:%2d:%2d", &hours, &minutes, &seconds);

    // Fill the RTC_TimeTypeDef structure
    nTime.Hours = hours;
    nTime.Minutes = minutes;
    nTime.Seconds = seconds;
    nTime.DayLightSaving = RTC_DAYLIGHTSAVING_NONE;
    nTime.StoreOperation = RTC_STOREOPERATION_RESET;

    if (HAL_RTC_SetTime(&hrtc, &nTime, RTC_FORMAT_BIN) != HAL_OK)
    {
      Error_Handler();
    }
    HAL_RTCEx_BKUPWrite(&hrtc, RTC_BKP_DR1, RTC_BKP_CONSTANT);
  }
}

bool enableGPRS(){
  //char apn[50];
  SIM_sendCommand("AT+SAPBR=3,1,\"CONTYPE\",\"GPRS\"");
  HAL_Delay(50);
  //sprintf(apn, "AT+SAPBR=3,1,\"APN\",\"%c\"", bite_apn);
  SIM_sendCommand("AT+SAPBR=3,1,\"APN\",\"internet\"");
  HAL_Delay(50);
  SIM_sendCommand("AT+SAPBR=1,1");
  HAL_Delay(50);
  if (strstr((char *)SIMrxBuffer, "ERROR") != NULL) {
    return false;
  }
  return true;
}
/* USER CODE END 4 */

void Error_Handler(void)
{
  /* USER CODE BEGIN Error_Handler_Debug */
  /* User can add his own implementation to report the HAL error return state */
  __disable_irq();
  HAL_NVIC_SystemReset();
  //while (1){}
  /* USER CODE END Error_Handler_Debug */
}
